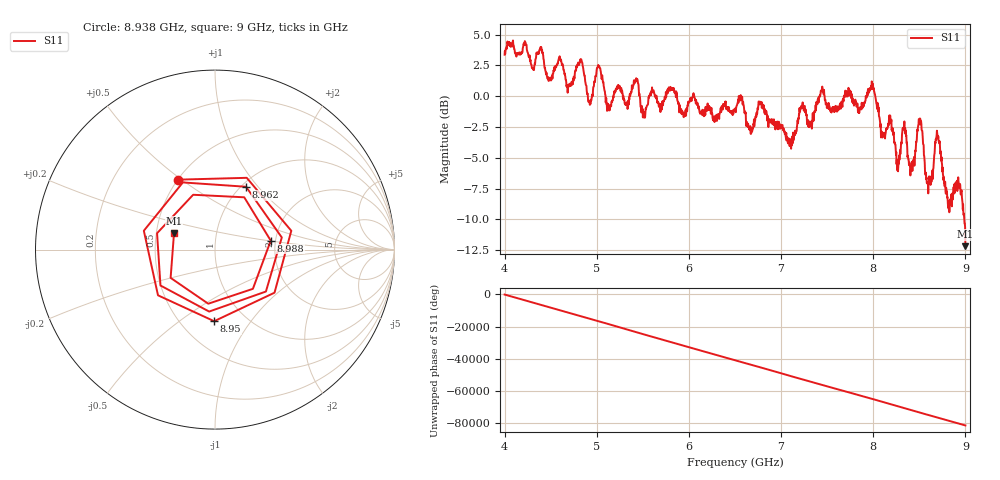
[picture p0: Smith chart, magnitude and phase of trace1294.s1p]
! Created with skrf 1.8.0 (http://scikit-rf.org).
# Hz S RI R 50.0
!freq ReS11 ImS11
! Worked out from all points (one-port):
!   1601 points, 4 GHz to 9 GHz, reference 50 ohm
!   lowest |S11| = -12.2 dB at 9 GHz (marker M1), VSWR 1.65, Z = 31 + j6.04 ohm
!   |S11| at or under -10 dB: 8.98765 GHz to end of sweep
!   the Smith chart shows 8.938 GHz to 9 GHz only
!   S11 on the Smith chart (normalised r, x): 8.938 GHz: 0.50, +0.49; 8.95 GHz: 0.72, -0.68; 8.962 GHz: 1.05, +0.87; 8.988 GHz: 1.89, +0.21; 9 GHz: 0.62, +0.12
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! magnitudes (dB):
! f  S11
! 4 GHz  3.4
! 4.625 GHz  2.6
! 4.697 GHz  0.9
! 4.828 GHz  3.0
! 4.925 GHz  -0.7
! 5.019 GHz  2.5
! 5.131 GHz  -0.8
! 5.25 GHz  0.8
! 5.428 GHz  1.5
! 5.509 GHz  -1.7
! 5.875 GHz  -0.4
! 6.5 GHz  -1.2
! 7.125 GHz  -3.8
! 7.231 GHz  -0.8
! 7.75 GHz  0.0
! 7.991 GHz  0.6
! 8.109 GHz  -3.1
! 8.375 GHz  -4.8
! 8.425 GHz  -6.1
! 8.509 GHz  -1.8
! 8.591 GHz  -7.1
! 8.697 GHz  -3.2
! 8.809 GHz  -8.6
! 8.938 GHz  -7.1
! 8.95 GHz  -8.0
! 8.962 GHz  -8.2
! 8.988 GHz  -10.0
! 9 GHz  -12.2
